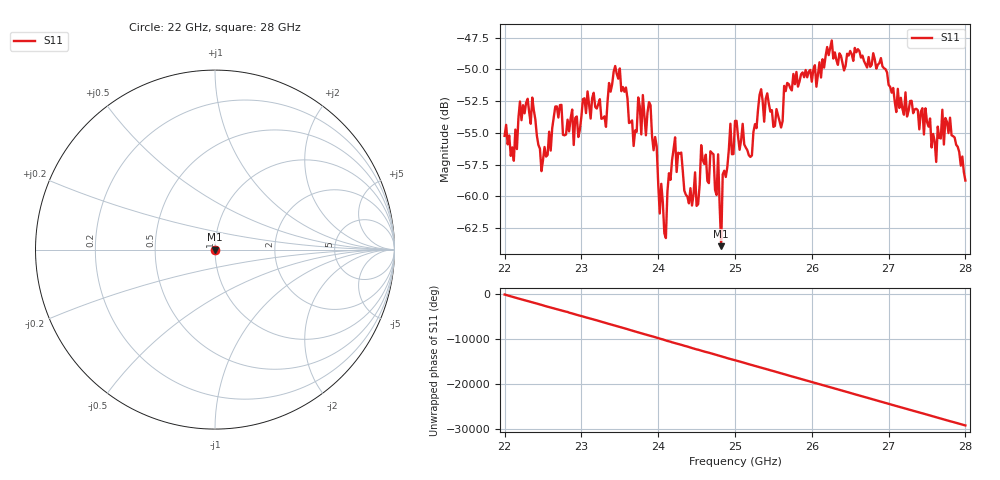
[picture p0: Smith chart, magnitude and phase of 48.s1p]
#  HZ  S  RI  R  50.00
! Rohde & Schwarz ZVA40 4Ports - Version 3.90 - 1145.1110k42 SN: 100403
! Date: 2023-10-04 07:36:58
! Measurement: S12
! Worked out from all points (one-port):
!   301 points, 22 GHz to 28 GHz, reference 50 ohm
!   lowest |S11| = -63.9 dB at 24.82 GHz (marker M1), VSWR 1.00, Z = 50 - j0.0527 ohm
!   |S11| at or under -10 dB: start of sweep to end of sweep
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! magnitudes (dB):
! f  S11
! 22 GHz  -55.2
! 22.36 GHz  -52.2
! 22.48 GHz  -58.0
! 22.76 GHz  -55.1
! 23.08 GHz  -51.7
! 23.32 GHz  -54.5
! 23.5 GHz  -49.9
! 23.68 GHz  -56.0
! 23.9 GHz  -52.8
! 24.1 GHz  -63.3
! 24.14 GHz  -58.2
! 24.26 GHz  -56.6
! 24.5 GHz  -60.8
! 24.56 GHz  -56.0
! 24.76 GHz  -59.9
! 24.78 GHz  -56.7
! 24.82 GHz  -63.9
! 24.84 GHz  -58.3
! 25 GHz  -54.1
! 25.2 GHz  -56.9
! 25.34 GHz  -51.6
! 25.6 GHz  -54.6
! 25.76 GHz  -50.4
! 26.5 GHz  -48.5
! 27.26 GHz  -53.3
! 27.62 GHz  -57.3
! 27.8 GHz  -53.8
! 28 GHz  -58.8
